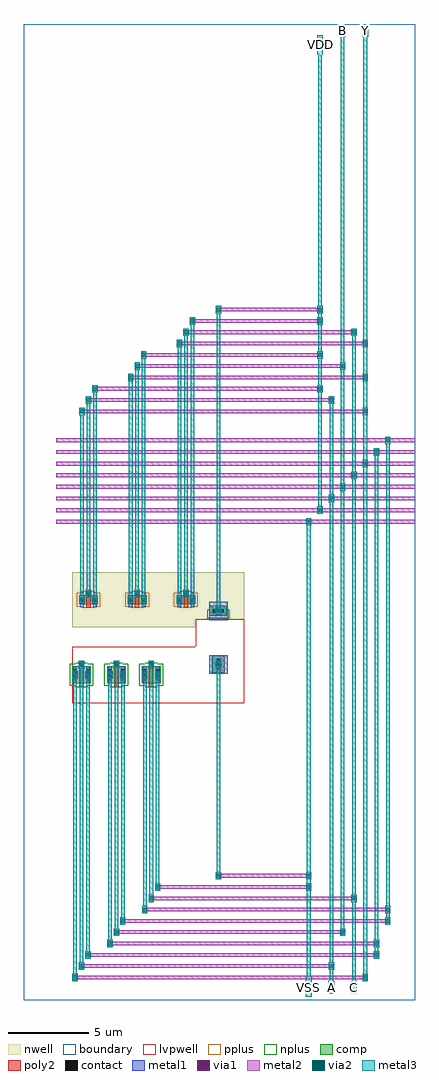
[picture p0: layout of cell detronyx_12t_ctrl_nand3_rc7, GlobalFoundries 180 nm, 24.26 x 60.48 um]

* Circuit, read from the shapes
.subckt detronyx_12t_ctrl_nand3_rc7 A B C VDD VSS Y
XM1 n1 A Y VSS nfet_03v3 w=1.055u l=0.28u
XM2 n2 B n1 VSS nfet_03v3 w=1.055u l=0.28u
XM3 VSS C n2 VSS nfet_03v3 w=1.055u l=0.28u
XM4 VDD A Y VDD pfet_03v3 w=0.56u l=0.2779u
XM5 VDD B Y VDD pfet_03v3 w=0.56u l=0.2779u
XM6 VDD C Y VDD pfet_03v3 w=0.56u l=0.2779u
.ends

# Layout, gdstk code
import gdstk
lib = gdstk.Library(unit=1e-6, precision=1e-09)
def R(c, l, rs):  # rectangles x0, y0, x1, y1
    for r in rs: c.add(gdstk.rectangle(r[:2], r[2:], *l))
def A(c, l, x, y, w, h, nx, ny, dx, dy):  # array of equal rectangles
    R(c, l, [(x+i*dx, y+j*dy, x+i*dx+w, y+j*dy+h) for i in range(nx) for j in range(ny)])
boundary = (0, 0)
nwell = (21, 0)
comp = (22, 0)
poly2 = (30, 0)
pplus = (31, 0)
nplus = (32, 0)
contact = (33, 0)
metal1 = (34, 0)
via1 = (35, 0)
metal2 = (36, 0)
via2 = (38, 0)
metal3 = (42, 0)
lvpwell = (204, 0)

detronyx_12t_ctrl_nand3_ = lib.new_cell('detronyx_12t_ctrl_nand3_rc7')
R(detronyx_12t_ctrl_nand3_, boundary, [(0,0,24.26,60.475)])
R(detronyx_12t_ctrl_nand3_, nwell, [(3,23.095,10.66,23.6), (3,23.6,13.66,26.515)])
A(detronyx_12t_ctrl_nand3_, comp, 3, 19.62, 1.16, 1.055, 3, 1, 2.16, 0)
A(detronyx_12t_ctrl_nand3_, comp, 3.43, 24.525, 1.16, 0.555, 3, 1, 3.02, 0)
R(detronyx_12t_ctrl_nand3_, comp, [(11.685,20.275,12.435,21.325), (11.535,23.815,12.585,24.415), (3.43,25.08,3.895,25.085), (4.125,25.08,4.59,25.085), (6.45,25.08,6.915,25.085), (7.145,25.08,7.61,25.085), (9.47,25.08,9.935,25.085), (10.165,25.08,10.63,25.085)])
A(detronyx_12t_ctrl_nand3_, poly2, 3.44, 19.4, 0.28, 1.55, 3, 1, 2.16, 0)
A(detronyx_12t_ctrl_nand3_, poly2, 3.87, 24.305, 0.28, 1.04, 3, 1, 3.02, 0)
A(detronyx_12t_ctrl_nand3_, pplus, 3.64, 24.295, 0.74, 0.07, 3, 2, 3.02, 0.95)
A(detronyx_12t_ctrl_nand3_, pplus, 3.27, 24.365, 1.48, 0.88, 3, 1, 3.02, 0)
R(detronyx_12t_ctrl_nand3_, pplus, [(11.665,20.255,12.455,21.345)])
A(detronyx_12t_ctrl_nand3_, nplus, 3.21, 19.39, 0.74, 0.07, 3, 2, 2.16, 1.445)
A(detronyx_12t_ctrl_nand3_, nplus, 2.84, 19.46, 1.48, 1.375, 3, 1, 2.16, 0)
R(detronyx_12t_ctrl_nand3_, nplus, [(11.375,23.655,12.745,24.19), (11.515,24.19,12.605,24.435)])
A(detronyx_12t_ctrl_nand3_, contact, 3.47, 20.69, 0.22, 0.22, 3, 1, 2.16, 0)
A(detronyx_12t_ctrl_nand3_, contact, 3.9, 25.085, 0.22, 0.22, 3, 1, 3.02, 0)
R(detronyx_12t_ctrl_nand3_, contact, [(3.07,19.8,3.29,20.02), (3.87,19.8,4.09,20.02), (5.23,19.8,5.45,20.02), (6.03,19.8,6.25,20.02), (7.39,19.8,7.61,20.02), (8.19,19.8,8.41,20.02), (3.07,20.27,3.29,20.49), (3.87,20.27,4.09,20.49), (5.23,20.27,5.45,20.49), (6.03,20.27,6.25,20.49), (7.39,20.27,7.61,20.49), (8.19,20.27,8.41,20.49), (11.95,20.455,12.17,20.675), (11.95,20.925,12.17,21.145), (11.715,24.005,11.935,24.225), (12.185,24.005,12.405,24.225), (3.5,24.695,3.72,24.915), (4.3,24.695,4.52,24.915), (6.52,24.695,6.74,24.915), (7.32,24.695,7.54,24.915), (9.54,24.695,9.76,24.915), (10.34,24.695,10.56,24.915)])
A(detronyx_12t_ctrl_nand3_, metal1, 3.42, 20.57, 0.325, 0.46, 3, 1, 2.16, 0)
A(detronyx_12t_ctrl_nand3_, metal1, 3.85, 24.965, 0.325, 0.46, 3, 1, 3.02, 0)
R(detronyx_12t_ctrl_nand3_, metal1, [(3.065,19.62,3.295,19.915), (3.865,19.62,4.095,19.915), (5.225,19.62,5.455,19.915), (6.025,19.62,6.255,19.915), (7.385,19.62,7.615,19.915), (8.185,19.62,8.415,19.915), (3.02,19.915,3.345,20.375), (3.82,19.915,4.145,20.375), (5.18,19.915,5.505,20.375), (5.98,19.915,6.305,20.375), (7.34,19.915,7.665,20.375), (8.14,19.915,8.465,20.375), (11.485,20.225,12.635,21.375), (3.065,20.375,3.295,20.675), (3.865,20.375,4.095,20.675), (5.225,20.375,5.455,20.675), (6.025,20.375,6.255,20.675), (7.385,20.375,7.615,20.675), (8.185,20.375,8.415,20.675), (11.485,23.54,12.635,24.69), (3.495,24.33,3.725,24.575), (4.295,24.33,4.525,24.575), (6.515,24.33,6.745,24.575), (7.315,24.33,7.545,24.575), (9.535,24.33,9.765,24.575), (10.335,24.33,10.565,24.575), (3.45,24.575,3.775,25.035), (4.25,24.575,4.575,25.035), (6.47,24.575,6.795,25.035), (7.27,24.575,7.595,25.035), (9.49,24.575,9.815,25.035), (10.29,24.575,10.615,25.035), (3.495,25.035,3.725,25.28), (4.295,25.035,4.525,25.28), (6.515,25.035,6.745,25.28), (7.315,25.035,7.545,25.28), (9.535,25.035,9.765,25.28), (10.335,25.035,10.565,25.28)])
A(detronyx_12t_ctrl_nand3_, via1, 3.45, 20.67, 0.26, 0.26, 3, 1, 2.16, 0)
A(detronyx_12t_ctrl_nand3_, via1, 3.88, 25.065, 0.26, 0.26, 3, 1, 3.02, 0)
R(detronyx_12t_ctrl_nand3_, via1, [(3.05,20.015,3.31,20.275), (3.85,20.015,4.11,20.275), (5.21,20.015,5.47,20.275), (6.01,20.015,6.27,20.275), (7.37,20.015,7.63,20.275), (8.17,20.015,8.43,20.275), (11.93,20.67,12.19,20.93), (11.93,23.985,12.19,24.245), (3.48,24.675,3.74,24.935), (4.28,24.675,4.54,24.935), (6.5,24.675,6.76,24.935), (7.3,24.675,7.56,24.935), (9.52,24.675,9.78,24.935), (10.32,24.675,10.58,24.935)])
A(detronyx_12t_ctrl_nand3_, metal2, 3.42, 20.57, 0.325, 0.46, 3, 1, 2.16, 0)
A(detronyx_12t_ctrl_nand3_, metal2, 3.85, 24.965, 0.325, 0.46, 3, 1, 3.02, 0)
A(detronyx_12t_ctrl_nand3_, metal2, 2, 29.515, 22.26, 0.24, 1, 8, 0, 0.72)
R(detronyx_12t_ctrl_nand3_, metal2, [(3.02,1.17,3.345,1.29), (21,1.17,21.325,1.29), (3.02,1.29,21.325,1.51), (3.02,1.51,3.345,1.63), (21,1.51,21.325,1.63), (3.42,1.87,3.745,1.99), (18.9,1.87,19.225,1.99), (3.42,1.99,19.225,2.21), (3.42,2.21,3.745,2.33), (18.9,2.21,19.225,2.33), (3.82,2.57,4.145,2.69), (21.7,2.57,22.025,2.69), (3.82,2.69,22.025,2.91), (3.82,2.91,4.145,3.03), (21.7,2.91,22.025,3.03), (5.18,3.27,5.505,3.39), (21.7,3.27,22.025,3.39), (5.18,3.39,22.025,3.61), (5.18,3.61,5.505,3.73), (21.7,3.61,22.025,3.73), (5.58,3.97,5.905,4.09), (19.6,3.97,19.925,4.09), (5.58,4.09,19.925,4.31), (5.58,4.31,5.905,4.43), (19.6,4.31,19.925,4.43), (5.98,4.67,6.305,4.79), (22.4,4.67,22.725,4.79), (5.98,4.79,22.725,5.01), (5.98,5.01,6.305,5.13), (22.4,5.01,22.725,5.13), (7.34,5.37,7.665,5.49), (22.4,5.37,22.725,5.49), (7.34,5.49,22.725,5.71), (7.34,5.71,7.665,5.83), (22.4,5.71,22.725,5.83), (7.74,6.07,8.065,6.19), (20.3,6.07,20.625,6.19), (7.74,6.19,20.625,6.41), (7.74,6.41,8.065,6.53), (20.3,6.41,20.625,6.53), (8.14,6.77,8.465,6.89), (17.5,6.77,17.825,6.89), (8.14,6.89,17.825,7.11), (8.14,7.11,8.465,7.23), (17.5,7.11,17.825,7.23), (11.9,7.47,12.225,7.59), (17.5,7.47,17.825,7.59), (11.9,7.59,17.825,7.81), (11.9,7.81,12.225,7.93), (17.5,7.81,17.825,7.93), (3.02,19.915,3.345,20.375), (3.82,19.915,4.145,20.375), (5.18,19.915,5.505,20.375), (5.98,19.915,6.305,20.375), (7.34,19.915,7.665,20.375), (8.14,19.915,8.465,20.375), (11.9,20.57,12.225,21.03), (11.9,23.885,12.225,24.345), (3.45,24.575,3.775,25.035), (4.25,24.575,4.575,25.035), (6.47,24.575,6.795,25.035), (7.27,24.575,7.595,25.035), (9.49,24.575,9.815,25.035), (10.29,24.575,10.615,25.035), (17.5,29.405,17.825,29.515), (17.5,29.755,17.825,29.865), (18.2,30.125,18.525,30.235), (18.2,30.475,18.525,30.585), (18.9,30.845,19.225,30.955), (18.9,31.195,19.225,31.305), (19.6,31.565,19.925,31.675), (19.6,31.915,19.925,32.025), (20.3,32.285,20.625,32.395), (20.3,32.635,20.625,32.745), (21,33.005,21.325,33.115), (21,33.355,21.325,33.465), (21.7,33.725,22.025,33.835), (21.7,34.075,22.025,34.185), (22.4,34.445,22.725,34.555), (22.4,34.795,22.725,34.905), (3.45,36.245,3.775,36.365), (21,36.245,21.325,36.365), (3.45,36.365,21.325,36.585), (3.45,36.585,3.775,36.705), (21,36.585,21.325,36.705), (3.85,36.945,4.175,37.065), (18.9,36.945,19.225,37.065), (3.85,37.065,19.225,37.285), (3.85,37.285,4.175,37.405), (18.9,37.285,19.225,37.405), (4.25,37.645,4.575,37.765), (18.2,37.645,18.525,37.765), (4.25,37.765,18.525,37.985), (4.25,37.985,4.575,38.105), (18.2,37.985,18.525,38.105), (6.47,38.345,6.795,38.465), (21,38.345,21.325,38.465), (6.47,38.465,21.325,38.685), (6.47,38.685,6.795,38.805), (21,38.685,21.325,38.805), (6.87,39.045,7.195,39.165), (19.6,39.045,19.925,39.165), (6.87,39.165,19.925,39.385), (6.87,39.385,7.195,39.505), (19.6,39.385,19.925,39.505), (7.27,39.745,7.595,39.865), (18.2,39.745,18.525,39.865), (7.27,39.865,18.525,40.085), (7.27,40.085,7.595,40.205), (18.2,40.085,18.525,40.205), (9.49,40.445,9.815,40.565), (21,40.445,21.325,40.565), (9.49,40.565,21.325,40.785), (9.49,40.785,9.815,40.905), (21,40.785,21.325,40.905), (9.89,41.145,10.215,41.265), (20.3,41.145,20.625,41.265), (9.89,41.265,20.625,41.485), (9.89,41.485,10.215,41.605), (20.3,41.485,20.625,41.605), (10.29,41.845,10.615,41.965), (18.2,41.845,18.525,41.965), (10.29,41.965,18.525,42.185), (10.29,42.185,10.615,42.305), (18.2,42.185,18.525,42.305), (11.9,42.545,12.225,42.665), (18.2,42.545,18.525,42.665), (11.9,42.665,18.525,42.885), (11.9,42.885,12.225,43.005), (18.2,42.885,18.525,43.005)])
A(detronyx_12t_ctrl_nand3_, via2, 3.45, 20.67, 0.26, 0.26, 3, 1, 2.16, 0)
A(detronyx_12t_ctrl_nand3_, via2, 3.88, 25.065, 0.26, 0.26, 3, 1, 3.02, 0)
A(detronyx_12t_ctrl_nand3_, via2, 21.03, 36.345, 0.26, 0.26, 1, 3, 0, 2.1)
A(detronyx_12t_ctrl_nand3_, via2, 18.23, 37.745, 0.26, 0.26, 1, 3, 0, 2.1)
R(detronyx_12t_ctrl_nand3_, via2, [(3.05,1.27,3.31,1.53), (21.03,1.27,21.29,1.53), (3.45,1.97,3.71,2.23), (18.93,1.97,19.19,2.23), (3.85,2.67,4.11,2.93), (21.73,2.67,21.99,2.93), (5.21,3.37,5.47,3.63), (21.73,3.37,21.99,3.63), (5.61,4.07,5.87,4.33), (19.63,4.07,19.89,4.33), (6.01,4.77,6.27,5.03), (22.43,4.77,22.69,5.03), (7.37,5.47,7.63,5.73), (22.43,5.47,22.69,5.73), (7.77,6.17,8.03,6.43), (20.33,6.17,20.59,6.43), (8.17,6.87,8.43,7.13), (17.53,6.87,17.79,7.13), (11.93,7.57,12.19,7.83), (17.53,7.57,17.79,7.83), (3.05,20.015,3.31,20.275), (3.85,20.015,4.11,20.275), (5.21,20.015,5.47,20.275), (6.01,20.015,6.27,20.275), (7.37,20.015,7.63,20.275), (8.17,20.015,8.43,20.275), (11.93,20.67,12.19,20.93), (11.93,23.985,12.19,24.245), (3.48,24.675,3.74,24.935), (4.28,24.675,4.54,24.935), (6.5,24.675,6.76,24.935), (7.3,24.675,7.56,24.935), (9.52,24.675,9.78,24.935), (10.32,24.675,10.58,24.935), (17.53,29.505,17.79,29.765), (18.23,30.225,18.49,30.485), (18.93,30.945,19.19,31.205), (19.63,31.665,19.89,31.925), (20.33,32.385,20.59,32.645), (21.03,33.105,21.29,33.365), (21.73,33.825,21.99,34.085), (22.43,34.545,22.69,34.805), (3.48,36.345,3.74,36.605), (3.88,37.045,4.14,37.305), (18.93,37.045,19.19,37.305), (4.28,37.745,4.54,38.005), (6.5,38.445,6.76,38.705), (6.9,39.145,7.16,39.405), (19.63,39.145,19.89,39.405), (7.3,39.845,7.56,40.105), (9.52,40.545,9.78,40.805), (9.92,41.245,10.18,41.505), (20.33,41.245,20.59,41.505), (10.32,41.945,10.58,42.205), (11.93,42.645,12.19,42.905), (18.23,42.645,18.49,42.905)])
A(detronyx_12t_ctrl_nand3_, metal3, 3.42, 20.57, 0.325, 0.46, 3, 1, 2.16, 0)
A(detronyx_12t_ctrl_nand3_, metal3, 3.85, 24.965, 0.325, 0.46, 3, 1, 3.02, 0)
A(detronyx_12t_ctrl_nand3_, metal3, 21, 36.245, 0.325, 0.46, 1, 3, 0, 2.1)
A(detronyx_12t_ctrl_nand3_, metal3, 18.2, 37.645, 0.325, 0.46, 1, 3, 0, 2.1)
R(detronyx_12t_ctrl_nand3_, metal3, [(17.48,0.2,17.84,1.4), (18.88,0.4,19.24,1.2), (20.28,0.4,20.64,1.2), (3.02,1.17,3.345,1.63), (21,1.17,21.325,1.63), (18.95,1.2,19.17,1.87), (20.35,1.2,20.57,6.07), (17.55,1.4,17.77,6.77), (3.07,1.63,3.29,19.915), (21.05,1.63,21.27,33.005), (3.42,1.87,3.745,2.33), (18.9,1.87,19.225,2.33), (3.47,2.33,3.69,20.57), (18.95,2.33,19.17,30.845), (3.82,2.57,4.145,3.03), (21.7,2.57,22.025,3.03), (3.87,3.03,4.09,19.915), (21.75,3.03,21.97,3.27), (5.18,3.27,5.505,3.73), (21.7,3.27,22.025,3.73), (5.23,3.73,5.45,19.915), (21.75,3.73,21.97,33.725), (5.58,3.97,5.905,4.43), (19.6,3.97,19.925,4.43), (5.63,4.43,5.85,20.57), (19.65,4.43,19.87,31.565), (5.98,4.67,6.305,5.13), (22.4,4.67,22.725,5.13), (6.03,5.13,6.25,19.915), (22.45,5.13,22.67,5.37), (7.34,5.37,7.665,5.83), (22.4,5.37,22.725,5.83), (7.39,5.83,7.61,19.915), (22.45,5.83,22.67,34.445), (7.74,6.07,8.065,6.53), (20.3,6.07,20.625,6.53), (7.79,6.53,8.01,20.57), (20.35,6.53,20.57,32.285), (8.14,6.77,8.465,7.23), (17.5,6.77,17.825,7.23), (8.19,7.23,8.41,19.915), (17.55,7.23,17.77,7.47), (11.9,7.47,12.225,7.93), (17.5,7.47,17.825,7.93), (11.95,7.93,12.17,20.57), (17.55,7.93,17.77,29.405), (3.02,19.915,3.345,20.375), (3.82,19.915,4.145,20.375), (5.18,19.915,5.505,20.375), (5.98,19.915,6.305,20.375), (7.34,19.915,7.665,20.375), (8.14,19.915,8.465,20.375), (11.9,20.57,12.225,21.03), (11.9,23.885,12.225,24.345), (11.95,24.345,12.17,42.545), (3.45,24.575,3.775,25.035), (4.25,24.575,4.575,25.035), (6.47,24.575,6.795,25.035), (7.27,24.575,7.595,25.035), (9.49,24.575,9.815,25.035), (10.29,24.575,10.615,25.035), (3.5,25.035,3.72,36.245), (4.3,25.035,4.52,37.645), (6.52,25.035,6.74,38.345), (7.32,25.035,7.54,39.745), (9.54,25.035,9.76,40.445), (10.34,25.035,10.56,41.845), (3.9,25.425,4.12,36.945), (6.92,25.425,7.14,39.045), (9.94,25.425,10.16,41.145), (17.5,29.405,17.825,29.865), (18.2,30.125,18.525,30.585), (18.25,30.585,18.47,37.645), (18.9,30.845,19.225,31.305), (18.95,31.305,19.17,36.945), (19.6,31.565,19.925,32.025), (19.65,32.025,19.87,39.045), (20.3,32.285,20.625,32.745), (20.35,32.745,20.57,41.145), (21,33.005,21.325,33.465), (21.05,33.465,21.27,36.245), (21.7,33.725,22.025,34.185), (22.4,34.445,22.725,34.905), (3.45,36.245,3.775,36.705), (21.05,36.705,21.27,38.345), (3.85,36.945,4.175,37.405), (18.9,36.945,19.225,37.405), (4.25,37.645,4.575,38.105), (18.25,38.105,18.47,39.745), (6.47,38.345,6.795,38.805), (21.05,38.805,21.27,40.445), (6.87,39.045,7.195,39.505), (19.6,39.045,19.925,39.505), (19.65,39.505,19.87,59.675), (7.27,39.745,7.595,40.205), (18.25,40.205,18.47,41.845), (9.49,40.445,9.815,40.905), (21.05,40.905,21.27,59.675), (9.89,41.145,10.215,41.605), (20.3,41.145,20.625,41.605), (10.29,41.845,10.615,42.305), (18.25,42.305,18.47,42.545), (11.9,42.545,12.225,43.005), (18.2,42.545,18.525,43.005), (18.25,43.005,18.47,58.575), (18.18,58.575,18.54,59.775), (19.58,59.675,19.94,60.475), (20.98,59.675,21.34,60.475)])
R(detronyx_12t_ctrl_nand3_, lvpwell, [(3,18.4,13.66,21.895), (10.66,21.895,13.66,23.6)])
detronyx_12t_ctrl_nand3_.add(gdstk.Label('VDD', (18.36,59.175), layer=42, texttype=10))
detronyx_12t_ctrl_nand3_.add(gdstk.Label('VSS', (17.66,0.8), layer=42, texttype=10))
detronyx_12t_ctrl_nand3_.add(gdstk.Label('A', (19.06,0.8), layer=42, texttype=10))
detronyx_12t_ctrl_nand3_.add(gdstk.Label('B', (19.76,60.075), layer=42, texttype=10))
detronyx_12t_ctrl_nand3_.add(gdstk.Label('C', (20.46,0.8), layer=42, texttype=10))
detronyx_12t_ctrl_nand3_.add(gdstk.Label('Y', (21.16,60.075), layer=42, texttype=10))

lib.write_gds('detronyx_12t_ctrl_nand3_rc7.gds')
